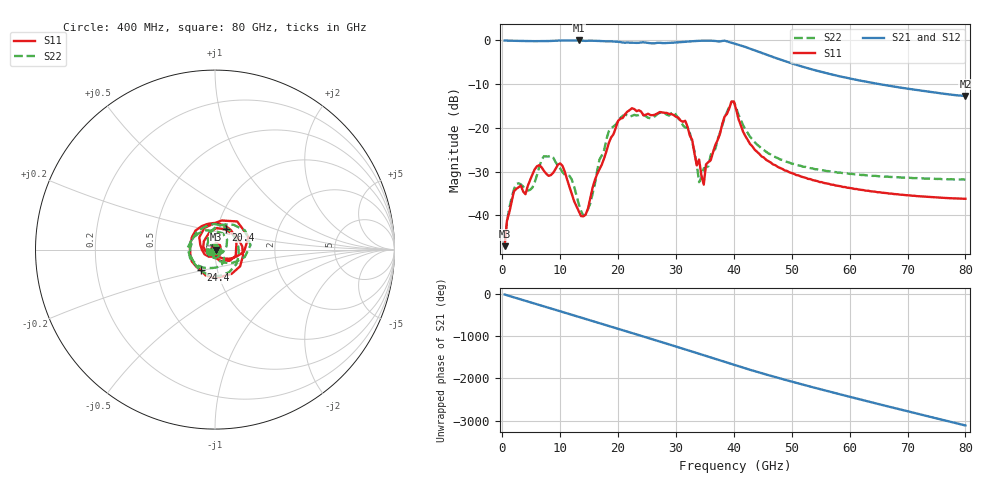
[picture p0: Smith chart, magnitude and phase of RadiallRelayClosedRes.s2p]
! File created by SignalIntegrity v1.1.9: Signal and Power Integrity Tools
! https://github.com/TeledyneLeCroy/SignalIntegrity
# MHz MA S R 50.0
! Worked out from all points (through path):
!   200 points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, 400 MHz to 80 GHz, reference 50 ohm
!   highest |S21| = -0.02 dB at 13.2 GHz (marker M1); lowest = -12.7 dB at 80 GHz (marker M2)
!   lowest |S11| = -47.0 dB at 400 MHz (marker M3), VSWR 1.01, Z = 50.4 + j0.00706 ohm
!   |S11| at or under -10 dB: start of sweep to end of sweep
!   |S22| runs from -46.6 to -14.0 dB; largest |S21 - S12| = 0
!   S11 on the Smith chart (normalised r, x): 400 MHz: 1.01, +0.00; 20.4 GHz: 1.10, +0.25; 24.4 GHz: 0.83, -0.19; 80 GHz: 0.98, -0.03
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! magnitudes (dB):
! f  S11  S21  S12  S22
! 400 MHz  -47.0  0.0  0.0  -46.6
! 2 GHz  -34.5  -0.1  -0.1  -34.1
! 4 GHz  -35.2  -0.2  -0.2  -34.1
! 5.2 GHz  -30.6  -0.2  -0.2  -33.6
! 7.2 GHz  -29.8  -0.2  -0.2  -26.5
! 10.4 GHz  -28.7  0.0  0.0  -30.1
! 13.2 GHz  -39.1  0.0  0.0  -37.4
! 14 GHz  -40.2  -0.1  -0.1  -40.1
! 18.4 GHz  -23.5  -0.2  -0.2  -20.8
! 20.4 GHz  -17.9  -0.4  -0.4  -17.7
! 24.4 GHz  -17.2  -0.4  -0.4  -17.0
! 27.2 GHz  -16.4  -0.6  -0.6  -16.5
! 31.6 GHz  -18.4  -0.3  -0.3  -19.9
! 33.2 GHz  -25.9  -0.2  -0.2  -25.2
! 34 GHz  -27.2  -0.1  -0.1  -32.4
! 34.8 GHz  -33.0  -0.1  -0.1  -29.3
! 38.4 GHz  -17.4  -0.1  -0.1  -17.6
! 40.4 GHz  -15.8  -0.9  -0.9  -15.4
! 44.8 GHz  -26.5  -2.9  -2.9  -24.8
! 53.6 GHz  -31.9  -6.7  -6.7  -29.3
! 66.8 GHz  -35.0  -10.4  -10.4  -31.2
! 80 GHz  -36.2  -12.7  -12.7  -31.8
